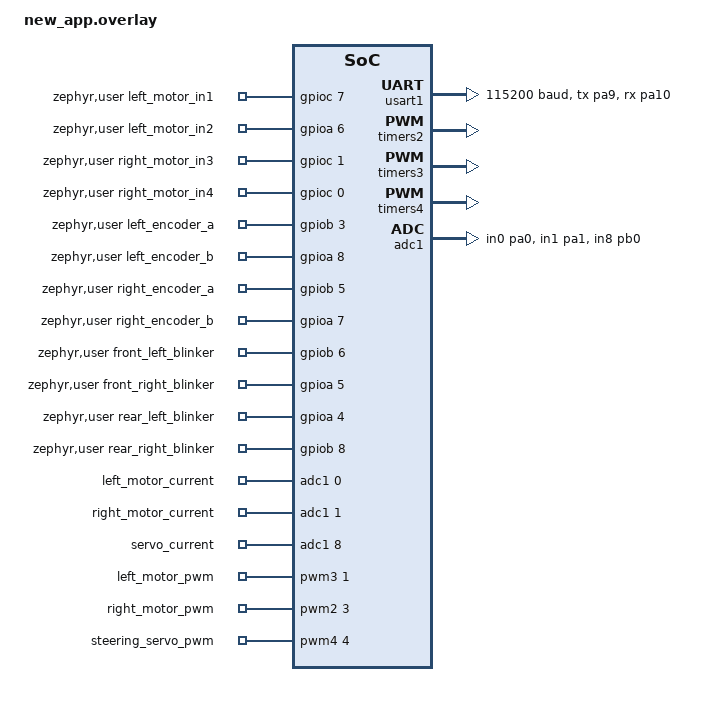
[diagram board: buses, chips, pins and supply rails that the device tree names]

#include <zephyr/dt-bindings/pwm/pwm.h>

/* UART used by the existing Pi protocol. */
&usart1 {
	pinctrl-0 = <&usart1_tx_pa9 &usart1_rx_pa10>;
	pinctrl-names = "default";
	current-speed = <115200>;
	status = "okay";
};

/* PWM outputs from the supplied pin map. */
&timers2 {
	status = "okay";
	pwm2: pwm {
		status = "okay";
		pinctrl-0 = <&tim2_ch3_pb10>;
		pinctrl-names = "default";
	};
};

&timers3 {
	status = "okay";
	pwm3: pwm {
		status = "okay";
		pinctrl-0 = <&tim3_ch1_pb4>;
		pinctrl-names = "default";
	};
};

&timers4 {
	status = "okay";
	pwm4: pwm {
		status = "okay";
		pinctrl-0 = <&tim4_ch4_pb9>;
		pinctrl-names = "default";
	};
};

&adc1 {
	status = "okay";
	pinctrl-0 = <&adc1_in0_pa0 &adc1_in1_pa1 &adc1_in8_pb0>;
	pinctrl-names = "default";
};

/ {
	zephyr,user {
		pwms = <&pwm3 1 PWM_MSEC(1) PWM_POLARITY_NORMAL>,
			<&pwm2 3 PWM_MSEC(1) PWM_POLARITY_NORMAL>,
			<&pwm4 4 PWM_MSEC(20) PWM_POLARITY_NORMAL>;
		pwm-names = "left_motor_pwm", "right_motor_pwm", "steering_servo_pwm";

		left_motor_in1_gpios = <&gpioc 7 GPIO_ACTIVE_HIGH>;
		left_motor_in2_gpios = <&gpioa 6 GPIO_ACTIVE_HIGH>;
		right_motor_in3_gpios = <&gpioc 1 GPIO_ACTIVE_HIGH>;
		right_motor_in4_gpios = <&gpioc 0 GPIO_ACTIVE_HIGH>;

		left_encoder_a_gpios = <&gpiob 3 GPIO_ACTIVE_HIGH>;
		left_encoder_b_gpios = <&gpioa 8 GPIO_ACTIVE_HIGH>;
		right_encoder_a_gpios = <&gpiob 5 GPIO_ACTIVE_HIGH>;
		right_encoder_b_gpios = <&gpioa 7 GPIO_ACTIVE_HIGH>;

		front_left_blinker_gpios = <&gpiob 6 GPIO_ACTIVE_HIGH>;
		front_right_blinker_gpios = <&gpioa 5 GPIO_ACTIVE_HIGH>;
		rear_left_blinker_gpios = <&gpioa 4 GPIO_ACTIVE_HIGH>;
		rear_right_blinker_gpios = <&gpiob 8 GPIO_ACTIVE_HIGH>;

		io-channels = <&adc1 0>, <&adc1 1>, <&adc1 8>;
		io-channel-names = "left_motor_current", "right_motor_current", "servo_current";
	};
};
